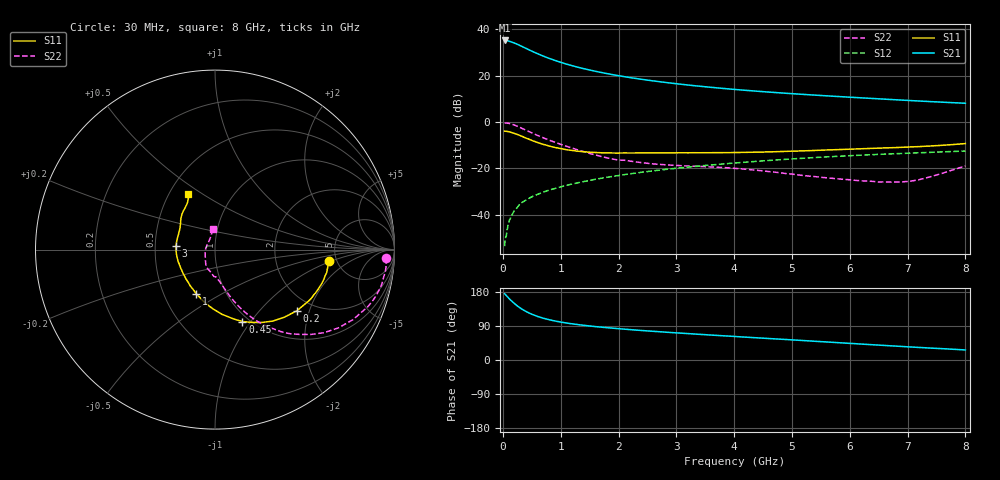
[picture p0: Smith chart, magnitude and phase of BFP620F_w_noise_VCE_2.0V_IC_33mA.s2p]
! Infineon Technologies  Discrete & RF Semiconductors
! BFP620F
! VCE =  2.0 V,  IC =  33 mA
! Common Emitter S-Parameters:  Dec 2014
# GHz  S  MA  R  50
!  f  S11  S21  S12  S22
! GHz  MAG  ANG  MAG  ANG  MAG  ANG  MAG  ANG
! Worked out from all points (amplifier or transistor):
!   95 points, 30 MHz to 8 GHz, reference 50 ohm
!   highest |S21| = 35.3 dB at 30 MHz (marker M1)
!   |S21| within 3 dB of that: start of sweep to 364.3 MHz
!   unconditionally stable (mu >= 1): 2.32 GHz to end of sweep
!   at 300 MHz: K = 0.41, MSG = 34.1 dB, |S12| = -35.1 dB
!   at 3.3 GHz: K = 1.03, MAG = 16.5 dB, |S12| = -19.2 dB
!   at 8 GHz: K = 1.06, MAG = 8.9 dB, |S12| = -12.5 dB
!   lowest NFmin = 1.20 dB at 450 MHz
!   S11 on the Smith chart (normalised r, x): 30 MHz: 4.30, -0.95; 200 MHz: 1.65, -1.66; 450 MHz: 0.93, -0.91; 1 GHz: 0.73, -0.39; 3 GHz: 0.64, +0.03; 8 GHz: 0.62, +0.44
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0.03  0.6379 -5.9  57.91 175.0  0.0021 67.6  0.9541 -2.8
0.07  0.6303 -13.6  57.27 168.3  0.0047 71.4  0.9523 -9.1
0.11  0.6153 -21.1  55.66 161.7  0.0076 78.6  0.9365 -15.1
0.15  0.5975 -28.1  53.75 155.9  0.0096 77.3  0.908 -20.6
0.2  0.5699 -36.6  50.83 149.0  0.0124 75.5  0.8623 -26.9
0.25  0.54 -44.2  47.86 142.8  0.0144 71.8  0.8142 -32.4
0.3  0.511 -51.3  44.81 137.2  0.0176 71.3  0.7639 -37.3
0.4  0.4515 -63.8  39.07 128.0  0.0208 69.0  0.667 -45.1
0.45  0.4289 -69.1  36.48 124.2  0.0226 67.8  0.6264 -48.4
0.5  0.4031 -74.3  34.09 120.8  0.0244 66.4  0.5863 -51.2
0.6  0.363 -83.8  29.98 114.9  0.0276 65.9  0.5158 -56.0
0.7  0.3305 -91.9  26.61 110.2  0.0309 66.1  0.4581 -59.9
0.8  0.3053 -99.5  23.8 106.3  0.034 65.9  0.4088 -63.0
1  0.2682 -112.8  19.55 100.1  0.04 65.7  0.3323 -68.0
1.4  0.23 -134.7  14.25 91.5  0.0521 65.3  0.23 -75.8
2  0.2148 -159.4  10.06 82.7  0.0703 63.8  0.1518 -88.5
2.7  0.217 -178.4  7.48 74.7  0.0917 60.6  0.1226 -103.9
3  0.2176 175.0  6.745 71.6  0.1009 59.1  0.1165 -109.0
4.1  0.2214 156.0  4.971 61.2  0.1337 53.1  0.0986 -121.1
5.4  0.2449 141.5  3.825 49.4  0.172 44.8  0.0667 -144.9
6.7  0.2797 128.5  3.083 37.5  0.2058 35.7  0.0508 160.1
8  0.3444 115.5  2.554 26.5  0.2374 26.8  0.1131 96.3
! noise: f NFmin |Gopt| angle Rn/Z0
0.45  1.2  0.08  -172  0.17
0.9  1.23  0.09  -171  0.13
1.5  1.24  0.14  -149  0.13
1.8  1.25  0.14  -148  0.14
1.9  1.26  0.15  -148  0.14
2.4  1.28  0.15  215  0.16
3.5  1.34  0.16  -140  0.18
5.5  1.49  0.23  243  0.14
6  1.53  0.24  260  0.17
